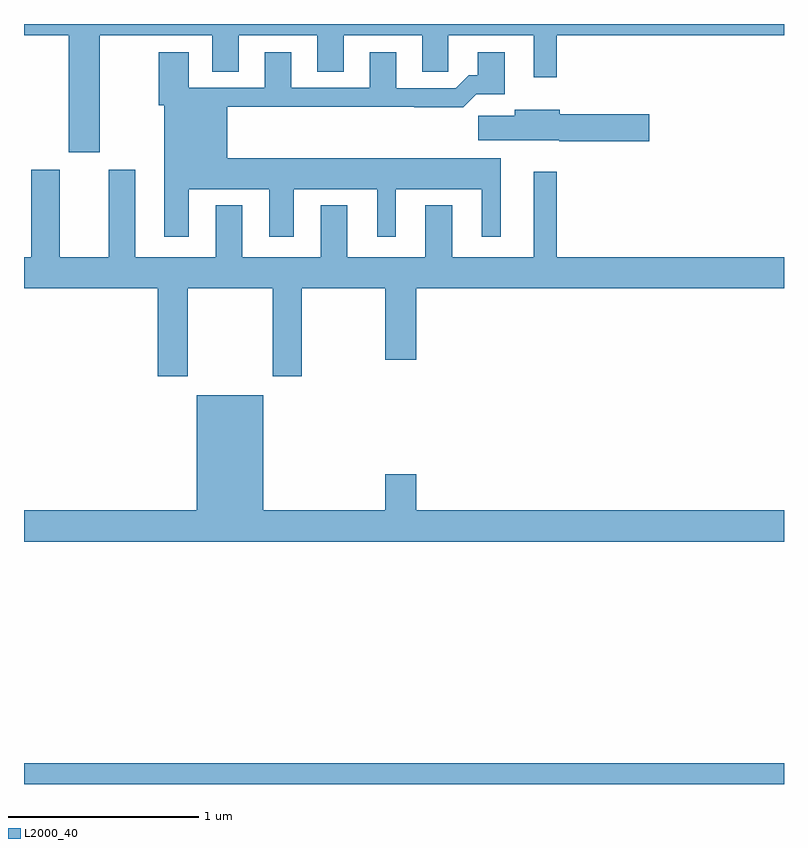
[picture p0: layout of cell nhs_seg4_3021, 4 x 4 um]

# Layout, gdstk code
import gdstk
lib = gdstk.Library(unit=1e-6, precision=1e-09)
def R(c, l, rs):  # rectangles x0, y0, x1, y1
    for r in rs: c.add(gdstk.rectangle(r[:2], r[2:], *l))
def P(c, l, *ps):  # polygons
    for p in ps: c.add(gdstk.Polygon(p, *l))
L2000_40 = (2000, 40)

nhs_seg4_3021 = lib.new_cell('nhs_seg4_3021')
R(nhs_seg4_3021, L2000_40, [(271,772.9,275,773.008)])
P(nhs_seg4_3021, L2000_40, [(271.399,776.84),(271.991,776.84),(271.991,776.65),(272.131,776.65),(272.131,776.84),(272.543,776.84),(272.543,776.65),(272.683,776.65),(272.683,776.84),(273.095,776.84),(273.095,776.65),(273.234,776.65),(273.234,776.84),(273.683,776.84),(273.683,776.619),(273.805,776.619),(273.805,776.84),(275,776.84),(275,776.9),(271,776.9),(271,776.84),(271.235,776.84),(271.235,776.226),(271.399,776.226)],
  [(271.867,776.03),(272.291,776.03),(272.291,775.779),(272.419,775.779),(272.419,776.03),(272.858,776.03),(272.858,775.779),(272.956,775.779),(272.956,776.03),(273.41,776.03),(273.41,775.779),(273.508,775.779),(273.508,776.194),(272.071,776.194),(272.071,776.464),(273.055,776.464),(273.055,776.462),(273.311,776.462),(273.38,776.531),(273.529,776.531),(273.529,776.752),(273.389,776.752),(273.389,776.629),(273.34,776.629),(273.273,776.562),(272.959,776.562),(272.959,776.752),(272.819,776.752),(272.819,776.565),(272.407,776.565),(272.407,776.752),(272.267,776.752),(272.267,776.565),(271.867,776.565),(271.867,776.752),(271.708,776.752),(271.708,776.472),(271.739,776.472),(271.739,775.779),(271.867,775.779)],
  [(274.291,776.424),(273.82,776.424),(273.82,776.449),(273.584,776.449),(273.584,776.417),(273.39,776.417),(273.39,776.288),(273.816,776.288),(273.816,776.282),(274.291,776.282)],
  [(271.863,775.508),(272.308,775.508),(272.308,775.047),(272.463,775.047),(272.463,775.508),(272.9,775.508),(272.9,775.134),(273.064,775.134),(273.064,775.508),(275,775.508),(275,775.672),(273.805,775.672),(273.805,776.122),(273.683,776.122),(273.683,775.672),(273.253,775.672),(273.253,775.945),(273.113,775.945),(273.113,775.672),(272.701,775.672),(272.701,775.945),(272.561,775.945),(272.561,775.672),(272.149,775.672),(272.149,775.945),(272.009,775.945),(272.009,775.672),(271.585,775.672),(271.585,776.134),(271.445,776.134),(271.445,775.672),(271.189,775.672),(271.189,776.134),(271.037,776.134),(271.037,775.672),(271,775.672),(271,775.508),(271.703,775.508),(271.703,775.047),(271.863,775.047)],
  [(275,774.34),(273.064,774.34),(273.064,774.529),(272.9,774.529),(272.9,774.34),(272.26,774.34),(272.26,774.946),(271.91,774.946),(271.91,774.34),(271,774.34),(271,774.176),(275,774.176)])

lib.write_gds('nhs_seg4_3021.gds')
